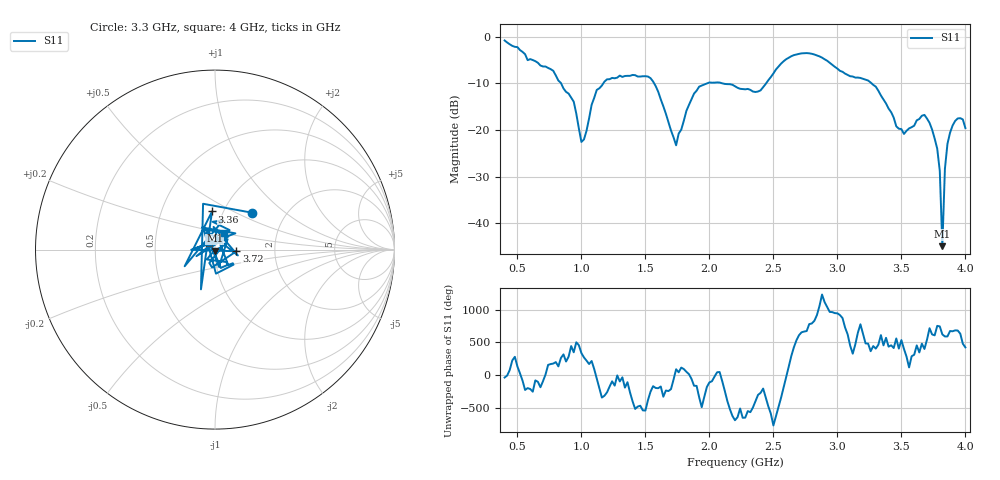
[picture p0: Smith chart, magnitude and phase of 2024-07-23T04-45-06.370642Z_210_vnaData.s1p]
!Created with skrf (http://scikit-rf.org).
# Hz S RI R 50.0
!freq ReS11 ImS11
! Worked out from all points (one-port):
!   181 points, 400 MHz to 4 GHz, reference 50 ohm
!   lowest |S11| = -44.9 dB at 3.82 GHz (marker M1), VSWR 1.01, Z = 49.9 - j0.56 ohm
!   |S11| at or under -10 dB: 1.569 GHz to 1.981 GHz (412.6 MHz wide, 23.2 % of centre); 2.104 GHz to 2.443 GHz (338.7 MHz wide, 14.9 % of centre); 3.268 GHz to end of sweep (the widest 3 of 4)
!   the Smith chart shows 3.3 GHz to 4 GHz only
!   S11 on the Smith chart (normalised r, x): 3.3 GHz: 1.37, +0.61; 3.36 GHz: 0.89, +0.39; 3.72 GHz: 1.27, -0.02; 4 GHz: 1.08, +0.20
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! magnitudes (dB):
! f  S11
! 400 MHz  -0.8
! 780 MHz  -7.3
! 860 MHz  -11.1
! 940 MHz  -13.9
! 1 GHz  -22.6
! 1.12 GHz  -11.4
! 1.3 GHz  -8.3
! 1.54 GHz  -8.9
! 1.74 GHz  -23.3
! 1.76 GHz  -20.8
! 1.92 GHz  -10.7
! 2.2 GHz  -10.6
! 2.4 GHz  -11.5
! 2.66 GHz  -3.9
! 3.1 GHz  -8.5
! 3.3 GHz  -10.7
! 3.36 GHz  -13.4
! 3.46 GHz  -19.2
! 3.56 GHz  -19.7
! 3.68 GHz  -16.8
! 3.72 GHz  -18.5
! 3.78 GHz  -24.0
! 3.8 GHz  -28.8
! 3.82 GHz  -44.9
! 3.84 GHz  -28.3
! 3.86 GHz  -22.9
! 3.94 GHz  -17.5
! 4 GHz  -19.6
